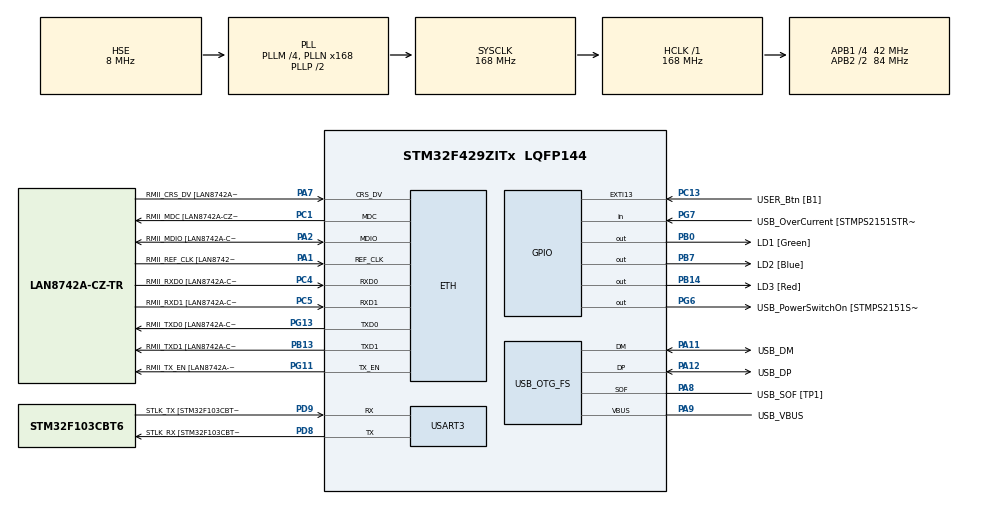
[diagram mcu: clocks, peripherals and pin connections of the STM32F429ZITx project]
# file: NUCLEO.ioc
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ETH.MediaInterface=ETH_MEDIA_INTERFACE_RMII
ETH.PHY_Name=LAN8742A_PHY_ADDRESS
ETH.PHY_Value=0
ETH.PhyAddress=0
Mcu.Family=STM32F4
Mcu.Name=STM32F429ZITx
Mcu.Package=LQFP144
NVIC.EXTI15_10_IRQn=true\:0\:0\:false\:false\:true\:true
NVIC.PriorityGroup=NVIC_PRIORITYGROUP_4
PA1.GPIO_Label=RMII_REF_CLK [LAN8742A-CZ-TR_REFCLK0]
PA1.Mode=RMII
PA1.Signal=ETH_REF_CLK
PA10.GPIO_Label=USB_ID
PA10.Signal=USB_OTG_FS_ID
PA11.GPIO_Label=USB_DM
PA11.Mode=Device_Only
PA11.Signal=USB_OTG_FS_DM
PA12.GPIO_Label=USB_DP
PA12.Mode=Device_Only
PA12.Signal=USB_OTG_FS_DP
PA13.GPIO_Label=TMS
PA13.Mode=Serial_Wire
PA13.Signal=SYS_JTMS-SWDIO
PA14.GPIO_Label=TCK
PA14.Mode=Serial_Wire
PA14.Signal=SYS_JTCK-SWCLK
PA2.GPIO_Label=RMII_MDIO [LAN8742A-CZ-TR_MDIO]
PA2.Mode=RMII
PA2.Signal=ETH_MDIO
PA7.GPIO_Label=RMII_CRS_DV [LAN8742A-CZ-TR_CRS_DV]
PA7.Mode=RMII
PA7.Signal=ETH_CRS_DV
PA8.GPIO_Label=USB_SOF [TP1]
PA8.Mode=Activate_SOF_FS
PA8.Signal=USB_OTG_FS_SOF
PA9.GPIO_Label=USB_VBUS
PA9.Mode=Activate_VBUS
PA9.Signal=USB_OTG_FS_VBUS
PB0.GPIO_Label=LD1 [Green]
PB0.Signal=GPIO_Output
PB13.GPIO_Label=RMII_TXD1 [LAN8742A-CZ-TR_TXD1]
PB13.Mode=RMII
PB13.Signal=ETH_TXD1
PB14.GPIO_Label=LD3 [Red]
PB14.Signal=GPIO_Output
PB7.GPIO_Label=LD2 [Blue]
PB7.Signal=GPIO_Output
PC1.GPIO_Label=RMII_MDC [LAN8742A-CZ-TR_MDC]
PC1.Mode=RMII
PC1.Signal=ETH_MDC
PC13.GPIO_Label=USER_Btn [B1]
PC13.Signal=GPXTI13
PC14/OSC32_IN.Mode=LSE-External-Oscillator
PC14/OSC32_IN.Signal=RCC_OSC32_IN
PC15/OSC32_OUT.Mode=LSE-External-Oscillator
PC15/OSC32_OUT.Signal=RCC_OSC32_OUT
PC4.GPIO_Label=RMII_RXD0 [LAN8742A-CZ-TR_RXD0]
PC4.Mode=RMII
PC4.Signal=ETH_RXD0
PC5.GPIO_Label=RMII_RXD1 [LAN8742A-CZ-TR_RXD1]
PC5.Mode=RMII
PC5.Signal=ETH_RXD1
PD8.GPIO_Label=STLK_RX [STM32F103CBT6_PA3]
PD8.Mode=Asynchronous
PD8.Signal=USART3_TX
PD9.GPIO_Label=STLK_TX [STM32F103CBT6_PA2]
PD9.Mode=Asynchronous
PD9.Signal=USART3_RX
PG11.GPIO_Label=RMII_TX_EN [LAN8742A-CZ-TR_TXEN]
PG11.Mode=RMII
PG11.Signal=ETH_TX_EN
PG13.GPIO_Label=RMII_TXD0 [LAN8742A-CZ-TR_TXD0]
PG13.Mode=RMII
PG13.Signal=ETH_TXD0
PG6.GPIO_Label=USB_PowerSwitchOn [STMPS2151STR_EN]
PG6.Signal=GPIO_Output
PG7.GPIO_Label=USB_OverCurrent [STMPS2151STR_FAULT]
PG7.Signal=GPIO_Input
PH0/OSC_IN.GPIO_Label=MCO [STM32F103CBT6_PA8]
PH0/OSC_IN.Mode=HSE-External-Clock-Source
PH0/OSC_IN.Signal=RCC_OSC_IN
PH1/OSC_OUT.Mode=HSE-External-Clock-Source
PH1/OSC_OUT.Signal=RCC_OSC_OUT
ProjectManager.HeapSize=0x200
ProjectManager.StackSize=0x400
ProjectManager.TargetToolchain=TrueSTUDIO
RCC.48MHZClocksFreq_Value=48000000
RCC.AHBFreq_Value=168000000
RCC.APB1CLKDivider=RCC_HCLK_DIV4
RCC.APB1Freq_Value=42000000
RCC.APB1TimFreq_Value=84000000
RCC.APB2CLKDivider=RCC_HCLK_DIV2
RCC.APB2Freq_Value=84000000
RCC.APB2TimCLKDivider=2
RCC.APB2TimFreq_Value=168000000
RCC.CortexFreq_Value=168000000
RCC.HCLKFreq_Value=168000000
RCC.HSE_VALUE=8000000
RCC.HSI_VALUE=16000000
RCC.PLLM=4
RCC.PLLMUL=RCC_PLL_MUL9
RCC.PLLN=168
RCC.PLLQ=7
RCC.PRESCALERUSB=RCC_USBCLKSOURCE_PLL_DIV1_5
RCC.SYSCLKFreq_VALUE=168000000
RCC.SYSCLKSource=RCC_SYSCLKSOURCE_PLLCLK
RCC.SYSCLKSourceVirtual=RCC_SYSCLKSOURCE_PLLCLK
RCC.USBFreq_Value=48000000
RCC.VCOOutputFreq_Value=336000000
USART3.VirtualMode=VM_ASYNC
USB_OTG_FS.VirtualMode=Device_Only
board=NUCLEO-F429ZI

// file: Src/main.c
/* USER CODE BEGIN Header */
/**
  ******************************************************************************
  * @file           : main.c
  * @brief          : Main program body
  ******************************************************************************
  ** This notice applies to any and all portions of this file
  * that are not between comment pairs USER CODE BEGIN and
  * USER CODE END. Other portions of this file, whether
  * inserted by the user or by software development tools
  * are owned by their respective copyright owners.
  *
  * COPYRIGHT(c) 2019 STMicroelectronics
  *
  * Redistribution and use in source and binary forms, with or without modification,
  * are permitted provided that the following conditions are met:
  *   1. Redistributions of source code must retain the above copyright notice,
  *      this list of conditions and the following disclaimer.
  *   2. Redistributions in binary form must reproduce the above copyright notice,
  *      this list of conditions and the following disclaimer in the documentation
  *      and/or other materials provided with the distribution.
  *   3. Neither the name of STMicroelectronics nor the names of its contributors
  *      may be used to endorse or promote products derived from this software
  *      without specific prior written permission.
  *
  * THIS SOFTWARE IS PROVIDED BY THE COPYRIGHT HOLDERS AND CONTRIBUTORS "AS IS"
  * AND ANY EXPRESS OR IMPLIED WARRANTIES, INCLUDING, BUT NOT LIMITED TO, THE
  * IMPLIED WARRANTIES OF MERCHANTABILITY AND FITNESS FOR A PARTICULAR PURPOSE ARE
  * DISCLAIMED. IN NO EVENT SHALL THE COPYRIGHT HOLDER OR CONTRIBUTORS BE LIABLE
  * FOR ANY DIRECT, INDIRECT, INCIDENTAL, SPECIAL, EXEMPLARY, OR CONSEQUENTIAL
  * DAMAGES (INCLUDING, BUT NOT LIMITED TO, PROCUREMENT OF SUBSTITUTE GOODS OR
  * SERVICES; LOSS OF USE, DATA, OR PROFITS; OR BUSINESS INTERRUPTION) HOWEVER
  * CAUSED AND ON ANY THEORY OF LIABILITY, WHETHER IN CONTRACT, STRICT LIABILITY,
  * OR TORT (INCLUDING NEGLIGENCE OR OTHERWISE) ARISING IN ANY WAY OUT OF THE USE
  * OF THIS SOFTWARE, EVEN IF ADVISED OF THE POSSIBILITY OF SUCH DAMAGE.
  *
  ******************************************************************************
  */
/* USER CODE END Header */

#include "main.h"

ETH_HandleTypeDef heth;

UART_HandleTypeDef huart3;

PCD_HandleTypeDef hpcd_USB_OTG_FS;

void SystemClock_Config(void);
static void MX_GPIO_Init(void);
static void MX_ETH_Init(void);
static void MX_USART3_UART_Init(void);
static void MX_USB_OTG_FS_PCD_Init(void);

/* USER CODE BEGIN 0 */
int drapeau = 0;
void HAL_GPIO_EXTI_Callback(uint16_t GPIO_Pin)
{
  /* Prevent unused argument(s) compilation warning */
  if (drapeau == 0)
  {
	  drapeau = 1;
  }
  else if (drapeau == 1)
  {
	  drapeau = 0;
  }
  /* NOTE: This function Should not be modified, when the callback is needed,
           the HAL_GPIO_EXTI_Callback could be implemented in the user file
   */
}
/* USER CODE END 0 */

int main(void)
{

  /* MCU Configuration--------------------------------------------------------*/

  /* Reset of all peripherals, Initializes the Flash interface and the Systick. */
  HAL_Init();

  /* Configure the system clock */
  SystemClock_Config();

  /* Initialize all configured peripherals */
  MX_GPIO_Init();
  MX_ETH_Init();
  MX_USART3_UART_Init();
  MX_USB_OTG_FS_PCD_Init();

  /* Infinite loop */
  /* USER CODE BEGIN WHILE */
  while (1)
  {
	  if(drapeau == 1)
	  {
		  HAL_GPIO_WritePin(GPIOB, LD2_Pin, 0);
		  HAL_GPIO_WritePin(GPIOB, LD3_Pin, 0);
		  HAL_GPIO_TogglePin(GPIOB, LD1_Pin);
		  HAL_Delay(100);
		  HAL_GPIO_TogglePin(GPIOB, LD1_Pin);
		  HAL_Delay(100);
	  }
	  else
	  {
		  HAL_Delay(1000);
		  HAL_GPIO_WritePin(GPIOB, LD1_Pin, 0);
		  HAL_GPIO_WritePin(GPIOB, LD2_Pin, 1);
		  HAL_GPIO_WritePin(GPIOB, LD3_Pin, 0);
		  //HAL_GPIO_TogglePin(GPIOB, LD2_Pin);
	  }
    /* USER CODE END WHILE */

  }
}

void SystemClock_Config(void)
{
  RCC_OscInitTypeDef RCC_OscInitStruct = {0};
  RCC_ClkInitTypeDef RCC_ClkInitStruct = {0};

  /**Configure the main internal regulator output voltage
  */
  __HAL_RCC_PWR_CLK_ENABLE();
  __HAL_PWR_VOLTAGESCALING_CONFIG(PWR_REGULATOR_VOLTAGE_SCALE1);
  /**Initializes the CPU, AHB and APB busses clocks
  */
  RCC_OscInitStruct.OscillatorType = RCC_OSCILLATORTYPE_HSE;
  RCC_OscInitStruct.HSEState = RCC_HSE_BYPASS;
  RCC_OscInitStruct.PLL.PLLState = RCC_PLL_ON;
  RCC_OscInitStruct.PLL.PLLSource = RCC_PLLSOURCE_HSE;
  RCC_OscInitStruct.PLL.PLLM = 4;
  RCC_OscInitStruct.PLL.PLLN = 168;
  RCC_OscInitStruct.PLL.PLLP = RCC_PLLP_DIV2;
  RCC_OscInitStruct.PLL.PLLQ = 7;
  if (HAL_RCC_OscConfig(&RCC_OscInitStruct) != HAL_OK)
  {
    Error_Handler();
  }
  /**Initializes the CPU, AHB and APB busses clocks
  */
  RCC_ClkInitStruct.ClockType = RCC_CLOCKTYPE_HCLK|RCC_CLOCKTYPE_SYSCLK
                              |RCC_CLOCKTYPE_PCLK1|RCC_CLOCKTYPE_PCLK2;
  RCC_ClkInitStruct.SYSCLKSource = RCC_SYSCLKSOURCE_PLLCLK;
  RCC_ClkInitStruct.AHBCLKDivider = RCC_SYSCLK_DIV1;
  RCC_ClkInitStruct.APB1CLKDivider = RCC_HCLK_DIV4;
  RCC_ClkInitStruct.APB2CLKDivider = RCC_HCLK_DIV2;

  if (HAL_RCC_ClockConfig(&RCC_ClkInitStruct, FLASH_LATENCY_5) != HAL_OK)
  {
    Error_Handler();
  }
}

static void MX_ETH_Init(void)
{

   uint8_t MACAddr[6] ;

  heth.Instance = ETH;
  heth.Init.AutoNegotiation = ETH_AUTONEGOTIATION_ENABLE;
  heth.Init.PhyAddress = LAN8742A_PHY_ADDRESS;
  MACAddr[0] = 0x00;
  MACAddr[1] = 0x80;
  MACAddr[2] = 0xE1;
  MACAddr[3] = 0x00;
  MACAddr[4] = 0x00;
  MACAddr[5] = 0x00;
  heth.Init.MACAddr = &MACAddr[0];
  heth.Init.RxMode = ETH_RXPOLLING_MODE;
  heth.Init.ChecksumMode = ETH_CHECKSUM_BY_HARDWARE;
  heth.Init.MediaInterface = ETH_MEDIA_INTERFACE_RMII;

  if (HAL_ETH_Init(&heth) != HAL_OK)
  {
    Error_Handler();
  }

}

static void MX_USART3_UART_Init(void)
{

  huart3.Instance = USART3;
  huart3.Init.BaudRate = 115200;
  huart3.Init.WordLength = UART_WORDLENGTH_8B;
  huart3.Init.StopBits = UART_STOPBITS_1;
  huart3.Init.Parity = UART_PARITY_NONE;
  huart3.Init.Mode = UART_MODE_TX_RX;
  huart3.Init.HwFlowCtl = UART_HWCONTROL_NONE;
  huart3.Init.OverSampling = UART_OVERSAMPLING_16;
  if (HAL_UART_Init(&huart3) != HAL_OK)
  {
    Error_Handler();
  }

}

static void MX_USB_OTG_FS_PCD_Init(void)
{

  hpcd_USB_OTG_FS.Instance = USB_OTG_FS;
  hpcd_USB_OTG_FS.Init.dev_endpoints = 4;
  hpcd_USB_OTG_FS.Init.speed = PCD_SPEED_FULL;
  hpcd_USB_OTG_FS.Init.dma_enable = DISABLE;
  hpcd_USB_OTG_FS.Init.ep0_mps = DEP0CTL_MPS_64;
  hpcd_USB_OTG_FS.Init.phy_itface = PCD_PHY_EMBEDDED;
  hpcd_USB_OTG_FS.Init.Sof_enable = ENABLE;
  hpcd_USB_OTG_FS.Init.low_power_enable = DISABLE;
  hpcd_USB_OTG_FS.Init.lpm_enable = DISABLE;
  hpcd_USB_OTG_FS.Init.vbus_sensing_enable = ENABLE;
  hpcd_USB_OTG_FS.Init.use_dedicated_ep1 = DISABLE;
  if (HAL_PCD_Init(&hpcd_USB_OTG_FS) != HAL_OK)
  {
    Error_Handler();
  }

}

static void MX_GPIO_Init(void)
{
  GPIO_InitTypeDef GPIO_InitStruct = {0};

  /* GPIO Ports Clock Enable */
  __HAL_RCC_GPIOC_CLK_ENABLE();
  __HAL_RCC_GPIOH_CLK_ENABLE();
  __HAL_RCC_GPIOA_CLK_ENABLE();
  __HAL_RCC_GPIOB_CLK_ENABLE();
  __HAL_RCC_GPIOD_CLK_ENABLE();
  __HAL_RCC_GPIOG_CLK_ENABLE();

  /*Configure GPIO pin Output Level */
  HAL_GPIO_WritePin(GPIOB, LD1_Pin|LD3_Pin|LD2_Pin, GPIO_PIN_RESET);

  /*Configure GPIO pin Output Level */
  HAL_GPIO_WritePin(USB_PowerSwitchOn_GPIO_Port, USB_PowerSwitchOn_Pin, GPIO_PIN_RESET);

  /*Configure GPIO pin : USER_Btn_Pin */
  GPIO_InitStruct.Pin = USER_Btn_Pin;
  GPIO_InitStruct.Mode = GPIO_MODE_IT_RISING_FALLING;
  GPIO_InitStruct.Pull = GPIO_NOPULL;
  HAL_GPIO_Init(USER_Btn_GPIO_Port, &GPIO_InitStruct);

  /*Configure GPIO pins : LD1_Pin LD3_Pin LD2_Pin */
  GPIO_InitStruct.Pin = LD1_Pin|LD3_Pin|LD2_Pin;
  GPIO_InitStruct.Mode = GPIO_MODE_OUTPUT_PP;
  GPIO_InitStruct.Pull = GPIO_NOPULL;
  GPIO_InitStruct.Speed = GPIO_SPEED_FREQ_LOW;
  HAL_GPIO_Init(GPIOB, &GPIO_InitStruct);

  /*Configure GPIO pin : USB_PowerSwitchOn_Pin */
  GPIO_InitStruct.Pin = USB_PowerSwitchOn_Pin;
  GPIO_InitStruct.Mode = GPIO_MODE_OUTPUT_PP;
  GPIO_InitStruct.Pull = GPIO_NOPULL;
  GPIO_InitStruct.Speed = GPIO_SPEED_FREQ_LOW;
  HAL_GPIO_Init(USB_PowerSwitchOn_GPIO_Port, &GPIO_InitStruct);

  /*Configure GPIO pin : USB_OverCurrent_Pin */
  GPIO_InitStruct.Pin = USB_OverCurrent_Pin;
  GPIO_InitStruct.Mode = GPIO_MODE_INPUT;
  GPIO_InitStruct.Pull = GPIO_NOPULL;
  HAL_GPIO_Init(USB_OverCurrent_GPIO_Port, &GPIO_InitStruct);

  /* EXTI interrupt init*/
  HAL_NVIC_SetPriority(EXTI15_10_IRQn, 0, 0);
  HAL_NVIC_EnableIRQ(EXTI15_10_IRQn);

}

void Error_Handler(void)
{
}

/************************ (C) COPYRIGHT STMicroelectronics *****END OF FILE****/
